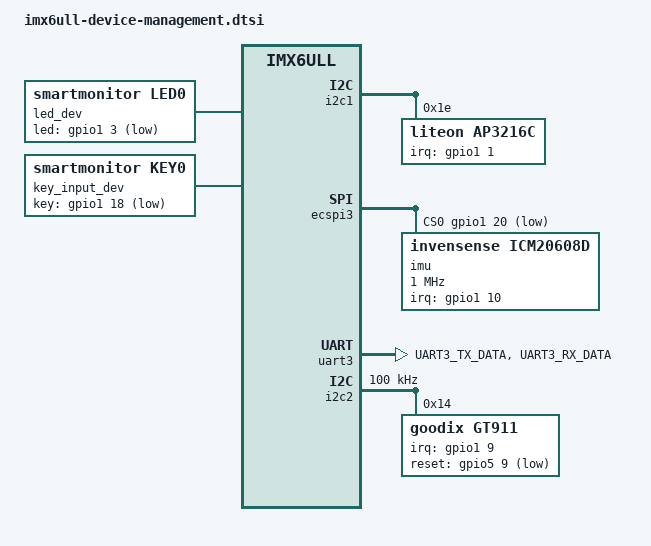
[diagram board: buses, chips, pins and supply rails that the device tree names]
#include <dt-bindings/input/input.h>
#include <dt-bindings/interrupt-controller/irq.h>

/ {
    led_dev {
        compatible = "smartmonitor,led0";
        pinctrl-names = "default";
        pinctrl-0 = <&pinctrl_led>;
        led-gpios = <&gpio1 3 GPIO_ACTIVE_LOW>;
        status = "okay";
    };

    key_input_dev {
        compatible = "smartmonitor,key0";
        pinctrl-names = "default";
        pinctrl-0 = <&pinctrl_key>;
        key-gpios = <&gpio1 18 GPIO_ACTIVE_LOW>;
        linux,code = <KEY_ENTER>;
        debounce-interval = <20>;
        status = "okay";
    };
};

/* GT911 CT_RST：SNVS_TAMPER9，GPIO5_IO09 */
&iomuxc_snvs {
    imx6ul-evk {
        pinctrl_gt911_reset: gt911resetgrp {
            fsl,pins = <
                MX6ULL_PAD_SNVS_TAMPER9__GPIO5_IO09    0X10B0
            >;
        };
    };
};

&iomuxc {
    imx6u-evk {
        pinctrl_led: ledgrp {
            fsl,pins = <
                MX6UL_PAD_GPIO1_IO03__GPIO1_IO03    0X10B0
            >;
        };

        pinctrl_key: keygrp {
            fsl,pins = <
                MX6UL_PAD_UART1_CTS_B__GPIO1_IO18    0XF080
            >;
        };

        /* AP3216C INT（原理图 AP_INT）：低电平有效，打开内部上拉。BSP 中该脚只被已关闭的 tsc 使用 */
        pinctrl_ap3216c_int: ap3216cintgrp {
            fsl,pins = <
                MX6UL_PAD_GPIO1_IO01__GPIO1_IO01    0XF080
            >;
        };

        /*
         * ALPHA V2.4 本地 BSP 适配：BSP 已定义 pinctrl_ecspi3（相同四个引脚）和
         * pinctrl_icm20608（6D_INT 中断脚），这里不再重复定义，避免 dtc 报 Duplicate label。
         */

        pinctrl_uart3: uart3grp {
            fsl,pins = <
                MX6UL_PAD_UART3_TX_DATA__UART3_DCE_TX    0X1B0B1
                MX6UL_PAD_UART3_RX_DATA__UART3_DCE_RX    0X1B0B1
            >;
        };

        pinctrl_gt911_int: gt911intgrp {
            fsl,pins = <
                MX6UL_PAD_GPIO1_IO09__GPIO1_IO09    0X00B0
            >;
        };
    };
};

&i2c1 {
    status = "okay";

    /* BSP 遗留的 EVK 传感器节点：fxls8471 占用 0x1e，与 AP3216C 冲突；板上也没有 mag3110 */
    /delete-node/ fxls8471@1e;
    /delete-node/ mag3110@0e;

    ap3216c@1e {
        compatible = "liteon,ap3216c";
        reg = <0x1e>;
        pinctrl-names = "default";
        pinctrl-0 = <&pinctrl_ap3216c_int>;
        /* 接近事件：PS 越过阈值时 INT 拉低，驱动读状态后写 1 清除 */
        interrupt-parent = <&gpio1>;
        interrupts = <1 IRQ_TYPE_LEVEL_LOW>;
        status = "okay";
    };
};

&uart2 {
    status = "disabled";
};

&ecspi3 {
    fsl,spi-num-chipselects = <1>; /* 一个片选 */
    cs-gpios = <&gpio1 20 GPIO_ACTIVE_LOW>;
    pinctrl-names = "default";
    pinctrl-0 = <&pinctrl_ecspi3>;
    status = "okay";

    /*
     * ICM-20608-D 由自研 IIO 驱动（icm20608-driver/）管理：
     * regmap-spi + IIO，数据就绪中断（6D_INT = GPIO1_IO10 上升沿）驱动 triggered buffer。
     * 与 BSP 中同名的 imu@0 节点合并，这里把属性写全，不依赖 BSP 是否已有该节点
     */
    imu@0 {
        compatible = "invensense,icm20608d";
        reg = <0>;
        spi-max-frequency = <1000000>;
        pinctrl-names = "default";
        pinctrl-0 = <&pinctrl_icm20608>; /* BSP：JTAG_MOD 复用为 GPIO1_IO10 */
        interrupt-parent = <&gpio1>;
        interrupts = <10 IRQ_TYPE_EDGE_RISING>;
        status = "okay";
    };
};

&uart3 {
    pinctrl-names = "default";
    pinctrl-0 = <&pinctrl_uart3>;
    status = "okay";
};

/* 保留 SD 卡检测和 VSELECT，释放 GPIO1_IO09 */
&pinctrl_hog_1 {
    fsl,pins = <
        MX6UL_PAD_UART1_RTS_B__GPIO1_IO19       0X17059
        MX6UL_PAD_GPIO1_IO05__USDHC1_VSELECT    0X17059
    >;
};

/* SD 卡固定 3.3V 供电，解除对 CT_INT 引脚的错误占用 */
&reg_sd1_vmmc {
    /delete-property/ gpio;
    /delete-property/ enable-active-high;

    regulator-always-on;
};

&i2c2 {
    clock-frequency = <100000>;
    status = "okay";
    gt911: touchscreen@14 {
        compatible = "goodix,gt911";
        reg = <0x14>;

        pinctrl-names = "default";
        pinctrl-0 = <&pinctrl_gt911_int
                     &pinctrl_gt911_reset>;

        /* 中断来自 GPIO1 控制器 */
        interrupt-parent = <&gpio1>;

        /* 由驱动读取 0x804D 后设置实际触发方式 */
        interrupts = <9 IRQ_TYPE_NONE>;

        irq-gpios = <&gpio1 9 GPIO_ACTIVE_HIGH>;
        reset-gpios = <&gpio5 9 GPIO_ACTIVE_LOW>;

        /* ATK-4384 4.3 寸 800x480，触摸 IC 实测为 GT1158（产品 ID "1158"） */
        touchscreen-size-x = <800>;
        touchscreen-size-y = <480>;

        status = "okay";
    };
};

/*
 * BSP 沿用 NXP EVK 配置，把 SNVS_TAMPER9 当作 LCD 复位放进 lcdif 的 pinctrl；
 * ALPHA 板上该脚实际接触摸芯片复位（TSC_RST），这里把它从 lcdif 中去掉
 */
&lcdif {
    pinctrl-0 = <&pinctrl_lcdif_dat
                 &pinctrl_lcdif_ctrl>;
};

/*
 * 屏幕为正点原子 ATK-4384（4.3 寸 800x480，LCD ID 引脚读出），BSP 默认是 480x272 时序。
 * 参数取自出厂内核 imx6ull-14x14-emmc-4.3-800x480-c.dts（出厂 U-Boot 按 LCD ID 自动选用），
 * 像素时钟 33 MHz（驱动开发指南 64.7 节写 31 MHz，以出厂实测可用的为准）
 */
&timing0 {
    clock-frequency = <33000000>;
    hactive = <800>;
    vactive = <480>;
    hfront-porch = <40>;
    hback-porch = <88>;
    hsync-len = <48>;
    vback-porch = <32>;
    vfront-porch = <13>;
    vsync-len = <3>;
};

/* 关闭不用的片内电阻触摸控制器 */
&tsc {
    status = "disabled";
};

